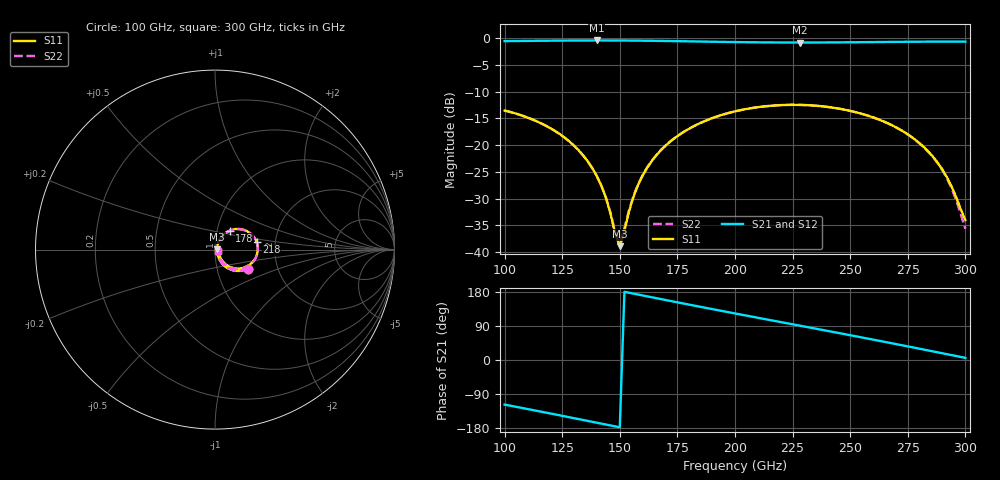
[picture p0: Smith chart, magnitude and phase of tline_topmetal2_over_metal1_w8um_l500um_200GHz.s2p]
#  GHZ S DB R 50
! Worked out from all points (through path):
!   101 points, 100 GHz to 300 GHz, reference 50 ohm
!   highest |S21| = -0.40 dB at 140 GHz (marker M1); lowest = -0.8 dB at 228 GHz (marker M2)
!   group delay of S21, straight-line fit = 3.27 ps
!   lowest |S11| = -38.9 dB at 150 GHz (marker M3), VSWR 1.02, Z = 51.1 + j0.06 ohm
!   |S11| at or under -10 dB: start of sweep to end of sweep
!   |S22| runs from -38.2 to -12.5 dB; largest |S21 - S12| = 1.6e-13
!   S11 on the Smith chart (normalised r, x): 100 GHz: 1.40, -0.31; 178 GHz: 1.15, +0.25; 218 GHz: 1.60, +0.14; 300 GHz: 1.04, -0.01
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100  -13.52 -30.3  -0.52 -117.7  -0.52 -117.7  -13.52 -30.2
120  -16.86 -51.4  -0.44 -141.3  -0.44 -141.3  -16.87 -51.2
134  -21.87 -64.0  -0.40 -158.2  -0.40 -158.2  -21.89 -63.5
140  -25.78 -66.4  -0.40 -165.5  -0.40 -165.5  -25.79 -65.5
144  -29.90 -63.0  -0.40 -170.3  -0.40 -170.3  -29.87 -61.5
148  -36.62 -38.4  -0.40 -175.2  -0.40 -175.2  -36.28 -35.6
150  -38.92 3.0  -0.41 -177.6  -0.41 -177.6  -38.21 3.7
154  -32.42 56.5  -0.42 177.5  -0.42 177.5  -32.17 54.6
158  -27.38 64.7  -0.43 172.6  -0.43 172.6  -27.28 63.3
162  -24.14 64.9  -0.45 167.8  -0.45 167.8  -24.08 63.9
168  -20.88 61.3  -0.48 160.6  -0.48 160.6  -20.85 60.5
178  -17.45 52.3  -0.55 148.6  -0.55 148.6  -17.43 51.7
200  -13.68 29.4  -0.70 122.8  -0.70 122.8  -13.67 28.8
218  -12.55 10.0  -0.77 102.2  -0.77 102.2  -12.55 9.4
228  -12.47 -0.8  -0.78 90.8  -0.78 90.8  -12.46 -1.4
234  -12.59 -7.2  -0.78 83.9  -0.78 83.9  -12.58 -7.9
250  -13.58 -24.3  -0.74 65.4  -0.74 65.4  -13.59 -25.1
268  -16.25 -42.8  -0.67 44.2  -0.67 44.2  -16.26 -44.0
280  -19.60 -53.3  -0.63 29.9  -0.63 29.9  -19.64 -55.1
288  -23.30 -57.0  -0.61 20.2  -0.61 20.2  -23.40 -59.9
294  -27.74 -52.8  -0.61 12.9  -0.61 12.9  -28.04 -57.5
300  -34.05 -17.0  -0.62 5.6  -0.62 5.6  -35.64 -21.7
